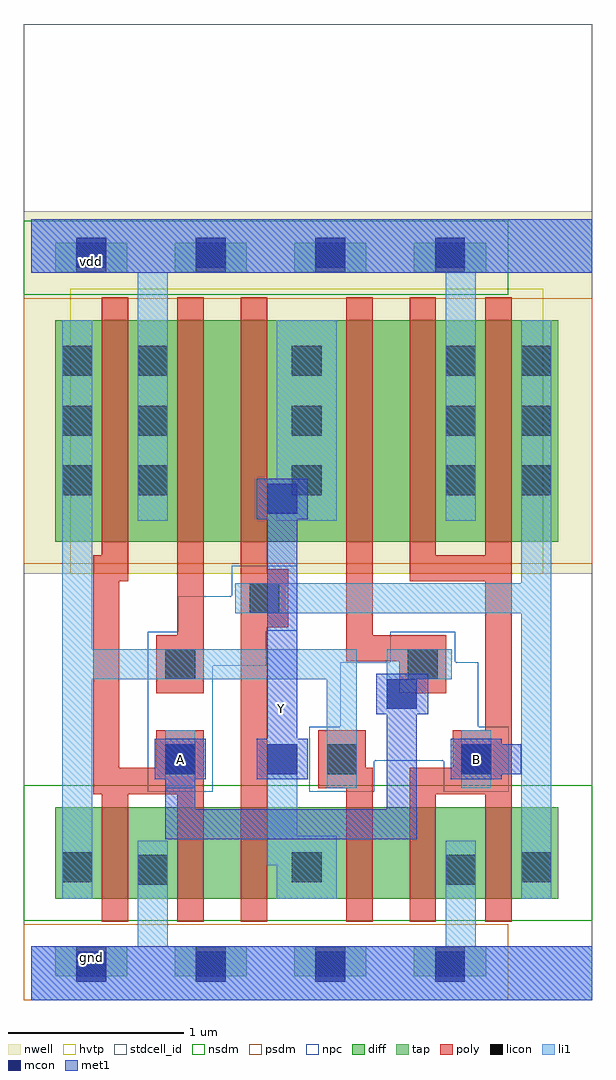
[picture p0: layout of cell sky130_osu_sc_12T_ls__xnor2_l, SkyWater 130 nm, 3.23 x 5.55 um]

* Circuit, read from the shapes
.subckt sky130_osu_sc_12T_ls__xnor2_l A B Y gnd vdd
XM1 gnd A n1 gnd sky130_fd_pr__nfet_01v8 w=0.52 l=0.15
XM2 n2 A gnd gnd sky130_fd_pr__nfet_01v8 w=0.52 l=0.15
XM3 Y n3 n2 gnd sky130_fd_pr__nfet_01v8 w=0.52 l=0.15
XM4 n4 n1 Y gnd sky130_fd_pr__nfet_01v8 w=0.52 l=0.15
XM5 gnd B n4 gnd sky130_fd_pr__nfet_01v8 w=0.52 l=0.15
XM6 n3 B gnd gnd sky130_fd_pr__nfet_01v8 w=0.52 l=0.15
XM7 vdd A n1 vdd sky130_fd_pr__pfet_01v8_hvt w=1.26 l=0.15
XM8 n5 n1 vdd vdd sky130_fd_pr__pfet_01v8_hvt w=1.26 l=0.15
XM9 Y n3 n5 vdd sky130_fd_pr__pfet_01v8_hvt w=1.26 l=0.15
XM10 n6 A Y vdd sky130_fd_pr__pfet_01v8_hvt w=1.26 l=0.15
XM11 vdd B n6 vdd sky130_fd_pr__pfet_01v8_hvt w=1.26 l=0.15
XM12 n3 B vdd vdd sky130_fd_pr__pfet_01v8_hvt w=1.26 l=0.15
.ends

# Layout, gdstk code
import gdstk
lib = gdstk.Library(unit=1e-6, precision=1e-09)
def R(c, l, rs):  # rectangles x0, y0, x1, y1
    for r in rs: c.add(gdstk.rectangle(r[:2], r[2:], *l))
def A(c, l, x, y, w, h, nx, ny, dx, dy):  # array of equal rectangles
    R(c, l, [(x+i*dx, y+j*dy, x+i*dx+w, y+j*dy+h) for i in range(nx) for j in range(ny)])
nwell = (64, 20)
diff = (65, 20)
tap = (65, 44)
poly = (66, 20)
licon = (66, 44)
li1 = (67, 20)
mcon = (67, 44)
met1 = (68, 20)
hvtp = (78, 44)
stdcell_id = (81, 4)
nsdm = (93, 44)
psdm = (94, 20)
npc = (95, 20)

sky130_osu_sc_12t_ls__xn = lib.new_cell('sky130_osu_sc_12T_ls__xnor2_l')
R(sky130_osu_sc_12t_ls__xn, nwell, [(-0.045,2.425,3.19,4.485)])
R(sky130_osu_sc_12t_ls__xn, diff, [(0.135,0.575,2.995,1.095), (0.135,2.605,2.995,3.865)])
A(sky130_osu_sc_12t_ls__xn, tap, 0.135, 0.135, 0.41, 0.17, 4, 2, 0.68, 4)
R(sky130_osu_sc_12t_ls__xn, poly, [(0.4,0.445,0.55,1.17), (0.83,0.445,0.98,1.17), (1.19,0.445,1.34,2.12), (1.79,0.445,1.94,1.205), (2.15,0.445,2.3,1.17), (2.58,0.445,2.73,1.17), (0.35,1.17,0.98,1.32), (2.15,1.17,2.73,1.32), (1.63,1.205,1.94,1.32), (0.35,1.32,0.5,2.38), (0.71,1.32,0.98,1.535), (1.63,1.32,1.9,1.535), (2.395,1.32,2.73,1.535), (2.58,1.535,2.73,2.38), (0.71,1.745,0.98,2.075), (2.09,1.745,2.36,1.925), (1.79,1.925,2.36,2.075), (0.83,2.075,0.98,3.995), (1.79,2.075,1.94,3.995), (1.19,2.12,1.46,2.45), (0.35,2.38,0.55,2.53), (2.15,2.38,2.73,2.53), (1.19,2.45,1.34,3.995), (0.4,2.53,0.55,3.995), (2.15,2.53,2.3,3.995), (2.58,2.53,2.73,3.995)])
A(sky130_osu_sc_12t_ls__xn, licon, 0.255, 0.135, 0.17, 0.17, 4, 2, 0.68, 4)
A(sky130_osu_sc_12t_ls__xn, licon, 0.175, 0.67, 0.17, 0.17, 3, 1, 1.305, 0)
A(sky130_osu_sc_12t_ls__xn, licon, 0.175, 2.87, 0.17, 0.17, 1, 3, 0, 0.34)
A(sky130_osu_sc_12t_ls__xn, licon, 0.605, 2.87, 0.17, 0.17, 3, 3, 0.875, 0.34)
A(sky130_osu_sc_12t_ls__xn, licon, 2.785, 2.87, 0.17, 0.17, 1, 3, 0, 0.34)
R(sky130_osu_sc_12t_ls__xn, licon, [(0.605,0.655,0.775,0.825), (2.355,0.655,2.525,0.825), (0.76,1.285,0.93,1.455), (1.68,1.285,1.85,1.455), (2.445,1.285,2.615,1.455), (0.76,1.825,0.93,1.995), (2.14,1.825,2.31,1.995), (1.24,2.2,1.41,2.37)])
R(sky130_osu_sc_12t_ls__xn, li1, [(0,0,3.19,0.305), (0.605,0.305,0.775,0.905), (2.355,0.305,2.525,0.905), (0.175,0.575,0.345,1.825), (1.395,0.575,1.735,0.765), (2.785,0.575,2.955,2.2), (1.34,0.765,1.735,0.935), (1.34,0.935,1.51,1.455), (0.76,1.205,0.93,1.535), (1.68,1.205,1.85,1.825), (2.445,1.205,2.615,1.535), (2.02,1.655,2.19,1.825), (0.175,1.825,1.85,1.995), (2.02,1.825,2.39,1.995), (0.175,1.995,0.345,3.865), (1.16,2.2,2.955,2.37), (2.785,2.37,2.955,3.865), (0.605,2.725,0.775,4.135), (1.395,2.725,1.735,2.765), (2.355,2.725,2.525,4.135), (1.34,2.765,1.735,2.965), (1.395,2.965,1.735,3.865), (0,4.135,3.19,4.44)])
A(sky130_osu_sc_12t_ls__xn, mcon, 0.255, 0.105, 0.17, 0.17, 4, 2, 0.68, 4.06)
R(sky130_osu_sc_12t_ls__xn, mcon, [(0.76,1.285,0.93,1.455), (1.34,1.285,1.51,1.455), (2.445,1.285,2.615,1.455), (2.02,1.655,2.19,1.825), (1.34,2.765,1.51,2.935)])
R(sky130_osu_sc_12t_ls__xn, met1, [(0,0,3.19,0.305), (0.76,0.915,2.19,1.085), (0.76,1.085,0.93,1.255), (2.02,1.085,2.19,1.625), (0.7,1.255,0.99,1.485), (1.28,1.255,1.57,1.485), (2.385,1.255,2.675,1.285), (2.385,1.285,2.785,1.455), (2.385,1.455,2.675,1.485), (1.34,1.485,1.51,2.735), (1.96,1.625,2.255,1.855), (1.28,2.735,1.57,2.965), (0,4.135,3.19,4.44)])
R(sky130_osu_sc_12t_ls__xn, hvtp, [(0.22,2.425,2.91,4.045)])
R(sky130_osu_sc_12t_ls__xn, stdcell_id, [(-0.045,0,3.19,5.55)])
R(sky130_osu_sc_12t_ls__xn, nsdm, [(-0.045,0.45,3.19,1.22), (-0.045,4.01,2.71,4.43)])
R(sky130_osu_sc_12t_ls__xn, psdm, [(-0.045,0,2.71,0.43), (-0.045,2.48,3.19,3.99)])
R(sky130_osu_sc_12t_ls__xn, npc, [(0.66,1.185,1.03,1.9), (1.58,1.185,1.95,1.36), (2.345,1.185,2.715,1.36), (1.58,1.36,2.715,1.555), (1.755,1.555,2.54,1.92), (0.66,1.9,1.335,2.095), (2.04,1.92,2.41,2.095), (0.835,2.095,1.335,2.1), (0.835,2.1,1.51,2.295), (1.14,2.295,1.51,2.47)])
sky130_osu_sc_12t_ls__xn.add(gdstk.Label('gnd', (0.34,0.24), layer=68, texttype=16))
sky130_osu_sc_12t_ls__xn.add(gdstk.Label('vdd', (0.34,4.2), layer=68, texttype=16))
sky130_osu_sc_12t_ls__xn.add(gdstk.Label('B', (2.53,1.37), layer=68, texttype=5))
sky130_osu_sc_12t_ls__xn.add(gdstk.Label('Y', (1.42,1.655), layer=68, texttype=5))
sky130_osu_sc_12t_ls__xn.add(gdstk.Label('A', (0.845,1.37), layer=68, texttype=5))

lib.write_gds('sky130_osu_sc_12T_ls__xnor2_l.gds')
